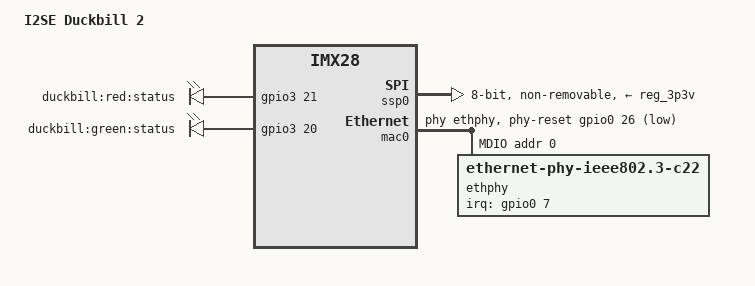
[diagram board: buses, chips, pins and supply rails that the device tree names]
/*
 * Copyright (C) 2013-2014 Michael Heimpold <mhei@heimpold.de>
 * Copyright (C) 2015 I2SE GmbH <info@i2se.com>
 *
 * The code contained herein is licensed under the GNU General Public
 * License. You may obtain a copy of the GNU General Public License
 * Version 2 or later at the following locations:
 *
 * http://www.opensource.org/licenses/gpl-license.html
 * http://www.gnu.org/copyleft/gpl.html
 */

#include <dt-bindings/interrupt-controller/irq.h>
#include <dt-bindings/gpio/gpio.h>
#include "imx28-duckbill-common.dtsi"

/ {
	model = "I2SE Duckbill 2";
	compatible = "i2se,duckbill", "fsl,imx28";

	apb@80000000 {
		apbh@80000000 {
			ssp0: ssp@80010000 {
				compatible = "fsl,imx28-mmc";
				pinctrl-names = "default";
				pinctrl-0 = <&mmc0_8bit_pins_a
					&mmc0_cd_cfg &mmc0_sck_cfg>;
				bus-width = <8>;
				vmmc-supply = <&reg_3p3v>;
				status = "okay";
				non-removable;
			};

			pinctrl@80018000 {
				pinctrl-names = "default";
				pinctrl-0 = <&hog_pins_a>;

				mac0_phy_reset_pin: mac0_phy_reset_pin@0 {
					reg = <0>;
					fsl,pinmux-ids = <
						MX28_PAD_GPMI_ALE__GPIO_0_26    /* PHY Reset */
					>;
					fsl,drive-strength = <MXS_DRIVE_4mA>;
					fsl,voltage = <MXS_VOLTAGE_HIGH>;
					fsl,pull-up = <MXS_PULL_DISABLE>;
				};

				mac0_phy_int_pin: mac0_phy_int_pin@0 {
					reg = <0>;
					fsl,pinmux-ids = <
						MX28_PAD_GPMI_D07__GPIO_0_7    /* PHY Interrupt */
					>;
					fsl,drive-strength = <MXS_DRIVE_4mA>;
					fsl,voltage = <MXS_VOLTAGE_HIGH>;
					fsl,pull-up = <MXS_PULL_DISABLE>;
				};

				status_led_pins: status_led_pins@0 {
					reg = <0>;
					fsl,pinmux-ids = <
						MX28_PAD_SAIF0_MCLK__GPIO_3_20
						MX28_PAD_SAIF0_LRCLK__GPIO_3_21
					>;
					fsl,drive-strength = <MXS_DRIVE_4mA>;
					fsl,voltage = <MXS_VOLTAGE_HIGH>;
					fsl,pull-up = <MXS_PULL_DISABLE>;
				};
			};
		};
	};

	ahb@80080000 {
		mac0: ethernet@800f0000 {
			phy-reset-gpios = <&gpio0 26 GPIO_ACTIVE_LOW>;
			phy-handle = <&ethphy>;
			mdio {
				#address-cells = <1>;
				#size-cells = <0>;

				ethphy: ethernet-phy@0 {
						compatible = "ethernet-phy-ieee802.3-c22";
						reg = <0>;
						pinctrl-names = "default";
						pinctrl-0 = <&mac0_phy_int_pin>;
						interrupt-parent = <&gpio0>;
						interrupts = <7 IRQ_TYPE_EDGE_FALLING>;
						max-speed = <100>;
				};
			};
		};
	};

	leds {
		compatible = "gpio-leds";
		pinctrl-names = "default";
		pinctrl-0 = <&status_led_pins>;

		status_red {
			label = "duckbill:red:status";
			gpios = <&gpio3 21 GPIO_ACTIVE_HIGH>;
			linux,default-trigger = "default-on";
		};

		status_green {
			label = "duckbill:green:status";
			gpios = <&gpio3 20 GPIO_ACTIVE_HIGH>;
			linux,default-trigger = "heartbeat";
		};
	};
};
